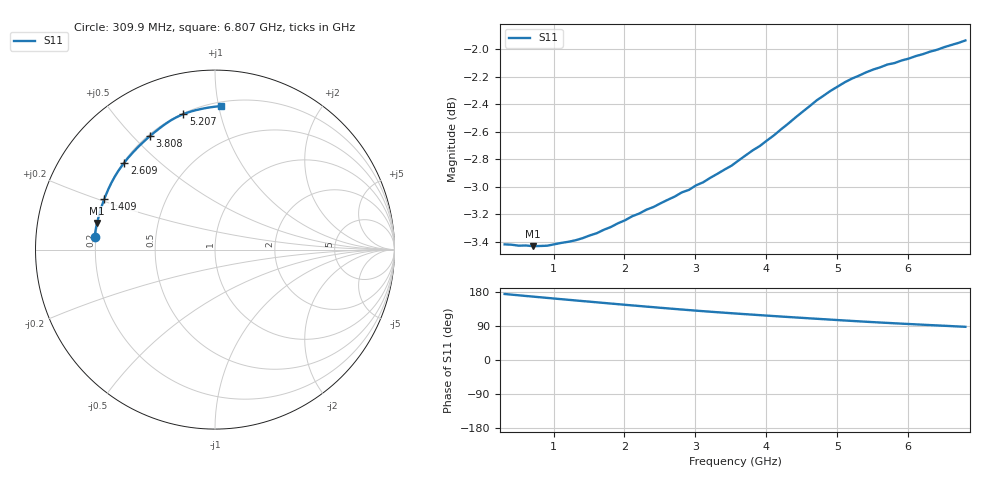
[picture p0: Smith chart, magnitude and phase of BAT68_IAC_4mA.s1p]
! Infineon Technologies  Discrete & RF Semiconductors
! BAT68
! IAC = 4 mA
! One-Port S-Parameters
# Hz  S  MA  R  50
!f  S11
!Hz  Mag  Ang
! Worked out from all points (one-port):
!   66 points, 309.9 MHz to 6.807 GHz, reference 50 ohm
!   lowest |S11| = -3.4 dB at 709.6 MHz (marker M1), VSWR 5.13, Z = 9.87 + j5.36 ohm
!   |S11| at or under -10 dB: nowhere
!   S11 on the Smith chart (normalised r, x): 309.9 MHz: 0.19, +0.05; 1.409 GHz: 0.20, +0.21; 2.609 GHz: 0.20, +0.39; 3.808 GHz: 0.21, +0.56; 5.207 GHz: 0.20, +0.77; 6.807 GHz: 0.23, +1.02
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3.0985e8  0.6745 174.2
6.097e8  0.6739 168.9
7.0965e8  0.6735 167.3
1.0095e9  0.6745 162.1
1.2094e9  0.676 158.8
1.4093e9  0.678 155.5
1.70915e9  0.6828 150.6
1.90905e9  0.6866 147.3
2.009e9  0.6883 145.7
2.10895e9  0.6906 144.1
2.30885e9  0.6944 140.9
2.6087e9  0.7002 136.2
2.8086e9  0.7046 133.2
3.0085e9  0.7087 130.2
3.2084e9  0.7132 127.4
3.6082e9  0.7236 122.1
3.8081e9  0.7298 119.6
4.2079e9  0.7428 114.7
4.4078e9  0.7501 112.3
4.6077e9  0.7572 110.0
4.8076e9  0.7641 107.7
5.10745e9  0.7727 104.2
5.2074e9  0.7751 103.1
5.4073e9  0.7791 100.9
5.6072e9  0.7824 98.8
6.007e9  0.7882 95.0
6.30685e9  0.7927 92.2
6.8066e9  0.8002 87.6
